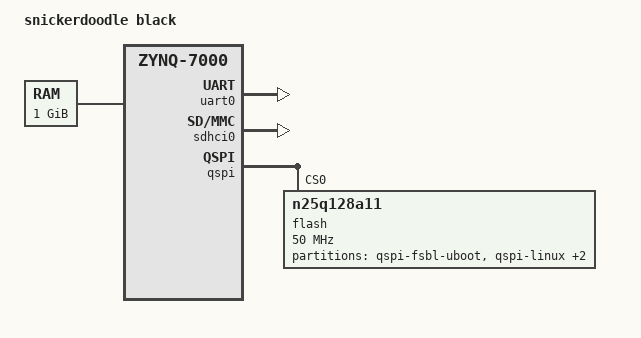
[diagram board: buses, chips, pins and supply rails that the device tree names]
/*
 * snickerdoodle black board DTS
 *
 * Copyright (c) 2016 krtkl inc.
 *
 * SPDX-License-Identifier:     GPL-2.0+
 */


/dts-v1/;
/include/ "zynq-7000.dtsi"
/ {
        model = "snickerdoodle black";
        compatible = "xlnx,zynq-snickerdoodle-black", "xlnx,zynq-7000";

	aliases {
		serial0 = &uart0;
		spi0 = &qspi;
		mmc0 = &sdhci0;
	};

	chosen {
		bootargs = "";
                stdout-path = "serial0:115200n8";
	};

	memory@0 {
		device_type = "memory";
		reg = <0x0 0x40000000>;
	};

	cpus {
		cpu@0 {
			operating-points = <
				/* kHz	uV */
				866666	1000000
				433333	1000000
			>;
		};
	};
};

&clkc {
	ps-clk-frequency = <33333333>;
};

&uart0 {
	u-boot,dm-pre-reloc;
        status = "okay";
};

&sdhci0 {
	u-boot,dm-pre-reloc;
        status = "okay";
};

&qspi {
	u-boot,dm-pre-reloc;
	status = "okay";
        is-dual = <0>;
        num-cs = <1>;
        flash@0 {
                compatible = "n25q128a11";
                reg = <0x0>;
                spi-tx-bus-width = <1>;
                spi-rx-bus-width = <4>;
                spi-max-frequency = <50000000>;
                #address-cells = <1>;
                #size-cells = <1>;
                partition@qspi-fsbl-uboot {
                        label = "qspi-fsbl-uboot";
                        reg = <0x0 0x80000>;
                };
                partition@qspi-linux {
                        label = "qspi-linux";
                        reg = <0x90000 0x670000>;
                };
                partition@qspi-device-tree {
                        label = "qspi-device-tree";
                        reg = <0x700000 0x10000>;
                };
                partition@qspi-rootfs {
                        label = "qspi-rootfs";
                        reg = <0x710000 0x800000>;
                };
        };
};
